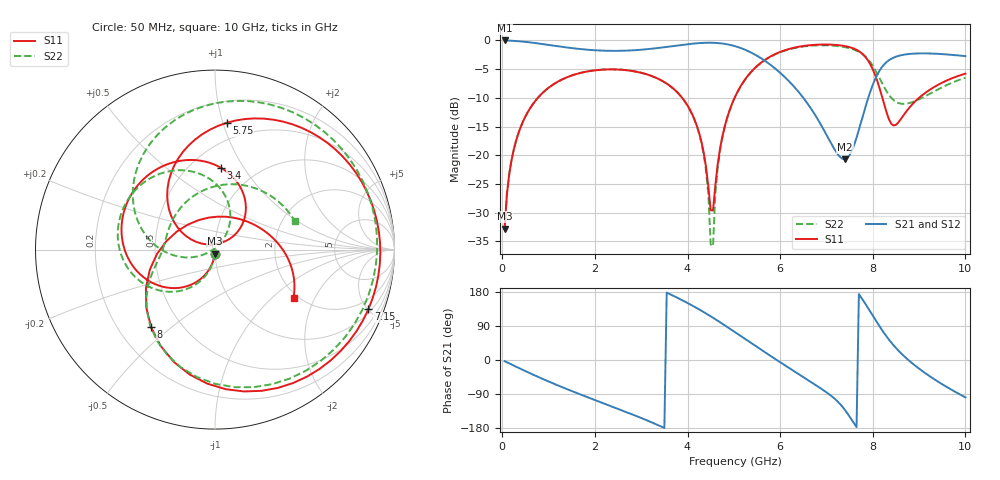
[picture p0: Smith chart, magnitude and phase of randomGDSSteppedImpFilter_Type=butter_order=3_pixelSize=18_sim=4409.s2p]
! freq	dB(S11)	phase(S11)	dB(S12)	phase(S12)
!  dB(S21)	phase(S21)	dB(S22)	phase(S22)
!S-par simulation data
#  GHz  S  DB  R 50
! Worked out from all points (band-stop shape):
!   200 points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, 50 MHz to 10 GHz, reference 50 ohm
!   highest |S21| = -0.01 dB at 50 MHz (marker M1); lowest = -20.7 dB at 7.4 GHz (marker M2)
!   |S21| within 3 dB of the highest: start of sweep to 5.568 GHz; 8.446 GHz to end of sweep
!   lowest |S11| = -32.7 dB at 50 MHz (marker M3), VSWR 1.05, Z = 49.8 - j2.29 ohm
!   |S11| at or under -10 dB: start of sweep to 768.3 MHz; 3.885 GHz to 5.016 GHz (1.131 GHz wide, 25.4 % of centre); 8.208 GHz to 8.998 GHz (790.3 MHz wide, 9.19 % of centre)
!   |S22| runs from -35.8 to -0.8 dB; largest |S21 - S12| = 0
!   S11 on the Smith chart (normalised r, x): 50 MHz: 1.00, -0.05; 3.4 GHz: 0.69, +0.80; 5.75 GHz: 0.36, +1.03; 7.15 GHz: 1.21, -5.05; 8 GHz: 0.34, -0.43; 10 GHz: 1.89, -1.38
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0.05  -32.75 -93.2  -0.01 -3.0  -0.01 -3.0  -32.75 -92.9
0.2  -20.81 -103.0  -0.06 -11.9  -0.06 -11.9  -20.80 -101.7
0.5  -13.23 -121.4  -0.25 -29.3  -0.25 -29.3  -13.22 -118.4
1.75  -5.54 170.1  -1.55 -93.9  -1.55 -93.9  -5.53 -179.0
3.4  -6.81 85.7  -1.28 -173.8  -1.28 -173.8  -6.81 107.1
4.2  -14.83 40.1  -0.50 137.0  -0.50 137.0  -14.92 62.0
4.4  -22.06 38.2  -0.41 122.7  -0.41 122.7  -22.66 51.4
4.5  -29.57 71.6  -0.40 115.3  -0.40 115.3  -35.54 63.8
4.55  -29.60 121.6  -0.41 111.5  -0.41 111.5  -35.81 -168.2
4.7  -18.93 157.6  -0.49 99.8  -0.49 99.8  -19.25 -159.0
5.05  -9.41 139.1  -1.06 71.5  -1.06 71.5  -9.47 175.6
5.75  -2.98 84.7  -4.00 14.0  -4.00 14.0  -3.03 118.8
6.25  -1.36 47.0  -7.60 -25.5  -7.60 -25.5  -1.44 77.4
6.7  -0.79 13.8  -12.28 -60.7  -12.28 -60.7  -0.89 38.3
7.15  -0.75 -21.3  -18.62 -99.4  -18.62 -99.4  -0.91 -5.7
7.4  -0.99 -43.8  -20.68 -132.0  -20.68 -132.0  -1.18 -34.0
7.7  -1.87 -78.5  -15.57 173.9  -15.57 173.9  -1.98 -74.4
8  -5.03 -129.4  -7.73 117.4  -7.73 117.4  -4.42 -122.6
8.35  -13.74 137.3  -3.44 53.6  -3.44 53.6  -9.50 -166.6
8.9  -10.73 21.8  -2.29 -13.4  -2.29 -13.4  -10.60 136.3
9.45  -7.55 -9.1  -2.36 -60.3  -2.36 -60.3  -8.35 72.0
10  -5.78 -31.6  -2.73 -98.6  -2.73 -98.6  -6.51 19.7
